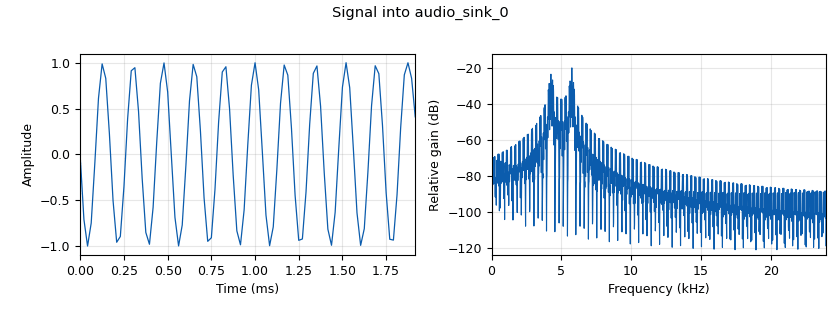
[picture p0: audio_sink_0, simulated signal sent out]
options:
  parameters:
    author: AA, AV, OW
    generate_options: qt_gui
    id: AC
    output_language: python
    title: Acoustic Communication
  states: {}

blocks:
- name: EbN0_dB
  id: variable
  parameters:
    value: '10'
  states: {}
- name: deviation
  id: variable
  parameters:
    value: 5*symbol_rate/2
  states: {}
- name: fc
  id: variable
  parameters:
    value: '5000'
  states: {}
- name: samp_rate
  id: variable
  parameters:
    value: '48000'
  states: {}
- name: sig_pwr
  id: variable
  parameters:
    value: '1'
  states: {}
- name: symbol_rate
  id: variable
  parameters:
    value: '300'
  states: {}
- name: analog_const_source_x_1
  id: analog_const_source_x
  parameters:
    const: '0'
    type: float
  states: {}
- name: analog_frequency_modulator_fc_0
  id: analog_frequency_modulator_fc
  parameters:
    sensitivity: 2*math.pi*deviation/samp_rate
  states: {}
- name: analog_noise_source_x_1
  id: analog_noise_source_x
  parameters:
    amp: math.sqrt( sig_pwr/ (10**(EbN0_dB/10)) * samp_rate/symbol_rate )
    noise_type: analog.GR_GAUSSIAN
    seed: '0'
    type: complex
  states: {state: disabled}
- name: analog_sig_source_x_0
  id: analog_sig_source_x
  parameters:
    amp: math.sqrt(2/(1/symbol_rate))
    freq: fc-deviation
    offset: '0'
    phase: '0'
    samp_rate: samp_rate
    type: complex
    waveform: analog.GR_COS_WAVE
  states: {}
- name: analog_sig_source_x_0_0
  id: analog_sig_source_x
  parameters:
    amp: math.sqrt(2/(1/symbol_rate))
    freq: fc+deviation
    offset: '0'
    phase: '0'
    samp_rate: samp_rate
    type: complex
    waveform: analog.GR_COS_WAVE
  states: {}
- name: analog_sig_source_x_1
  id: analog_sig_source_x
  parameters:
    amp: '1'
    freq: fc
    offset: '0'
    phase: '0'
    samp_rate: samp_rate
    type: complex
    waveform: analog.GR_COS_WAVE
  states: {}
- name: audio_sink_0
  id: audio_sink
  parameters:
    device_name: '"Speakers / Headphones"'
    samp_rate: samp_rate
  states: {}
- name: audio_source_0
  id: audio_source
  parameters:
    device_name: '"Microphone Array"'
    samp_rate: samp_rate
  states: {}
- name: blocks_add_const_vxx_0
  id: blocks_add_const_vxx
  parameters:
    const: '-1'
    type: float
  states: {}
- name: blocks_add_xx_0
  id: blocks_add_xx
  parameters:
    type: complex
  states: {state: disabled}
- name: blocks_char_to_float_0
  id: blocks_char_to_float
  parameters:
    scale: '0.5'
  states: {}
- name: blocks_char_to_float_0_0_0
  id: blocks_char_to_float
  parameters:
    scale: '1'
  states: {}
- name: blocks_char_to_float_0_0_0_0
  id: blocks_char_to_float
  parameters:
    scale: '1'
  states: {}
- name: blocks_complex_to_mag_squared_0
  id: blocks_complex_to_mag_squared
  parameters: {}
  states: {}
- name: blocks_complex_to_mag_squared_0_0
  id: blocks_complex_to_mag_squared
  parameters: {}
  states: {}
- name: blocks_complex_to_real_0
  id: blocks_complex_to_real
  parameters: {}
  states: {}
- name: blocks_float_to_complex_0
  id: blocks_float_to_complex
  parameters: {}
  states: {}
- name: blocks_keep_one_in_n_0
  id: blocks_keep_one_in_n
  parameters:
    n: int(samp_rate/symbol_rate)
    type: float
  states: {}
- name: blocks_moving_average_xx_0_0
  id: blocks_moving_average_xx
  parameters:
    length: int(samp_rate/symbol_rate)
    max_iter: '4000'
    scale: '1'
    type: complex
  states: {}
- name: blocks_moving_average_xx_0_0_0
  id: blocks_moving_average_xx
  parameters:
    length: int(samp_rate/symbol_rate)
    max_iter: '4000'
    scale: '1'
    type: complex
  states: {}
- name: blocks_multiply_xx_0
  id: blocks_multiply_xx
  parameters:
    type: complex
  states: {}
- name: blocks_multiply_xx_0_0
  id: blocks_multiply_xx
  parameters:
    type: complex
  states: {}
- name: blocks_multiply_xx_1
  id: blocks_multiply_xx
  parameters:
    type: complex
  states: {}
- name: blocks_pack_k_bits_bb_0
  id: blocks_pack_k_bits_bb
  parameters:
    k: '8'
  states: {}
- name: blocks_pack_k_bits_bb_0_0
  id: blocks_pack_k_bits_bb
  parameters:
    k: '8'
  states: {}
- name: blocks_repeat_0
  id: blocks_repeat
  parameters:
    interp: int(samp_rate/symbol_rate)
    type: float
  states: {}
- name: blocks_sub_xx_0
  id: blocks_sub_xx
  parameters:
    type: float
  states: {}
- name: blocks_throttle2_1
  id: blocks_throttle2
  parameters:
    samples_per_second: samp_rate
    type: complex
  states: {state: disabled}
- name: blocks_throttle2_1_0_0
  id: blocks_throttle2
  parameters:
    samples_per_second: samp_rate
    type: byte
  states: {state: disabled}
- name: blocks_unpack_k_bits_bb_0
  id: blocks_unpack_k_bits_bb
  parameters:
    k: '8'
  states: {}
- name: blocks_unpack_k_bits_bb_0_0
  id: blocks_unpack_k_bits_bb
  parameters:
    k: '8'
  states: {}
- name: blocks_vector_source_x_0
  id: blocks_vector_source_x
  parameters:
    repeat: 'True'
    type: byte
    vector: (0, 1, 0, 1, 1)
  states: {}
- name: channels_channel_model_0
  id: channels_channel_model
  parameters:
    epsilon: '1'
    freq_offset: '0.0'
    noise_voltage: 0*math.sqrt( sig_pwr/ (10**(EbN0_dB/10)) * samp_rate/symbol_rate )
    seed: '0'
    taps: '1.0'
  states: {}
- name: digital_binary_slicer_fb_0
  id: digital_binary_slicer_fb
  parameters: {}
  states: {}
- name: digital_glfsr_source_x_0
  id: digital_glfsr_source_x
  parameters:
    degree: '20'
    mask: '0'
    repeat: 'True'
    seed: '1'
    type: byte
  states: {state: disabled}
- name: fec_ber_bf_0
  id: fec_ber_bf
  parameters:
    test_mode: 'False'
  states: {}
- name: import_0
  id: import
  parameters:
    imports: import math
  states: {}
- name: qtgui_number_sink_0
  id: qtgui_number_sink
  parameters:
    graph_type: qtgui.NUM_GRAPH_HORIZ
    type: float
  states: {}
- name: qtgui_time_sink_x_0
  id: qtgui_time_sink_x
  parameters:
    ctrlpanel: 'True'
    size: '1024'
    srate: samp_rate
    type: complex
  states: {state: disabled}
- name: qtgui_time_sink_x_0_0
  id: qtgui_time_sink_x
  parameters:
    ctrlpanel: 'True'
    nconnections: '2'
    size: '1024'
    srate: samp_rate
    type: float
  states: {}
- name: qtgui_time_sink_x_1
  id: qtgui_time_sink_x
  parameters:
    size: '1024'
    srate: samp_rate
    type: float
  states: {}
- name: virtual_sink_0
  id: virtual_sink
  parameters: {}
  states: {state: disabled}
- name: virtual_source_0
  id: virtual_source
  parameters: {}
  states: {state: disabled}

connections:
- [analog_const_source_x_1, '0', blocks_float_to_complex_0, '1']
- [analog_frequency_modulator_fc_0, '0', blocks_add_xx_0, '1']
- [analog_frequency_modulator_fc_0, '0', channels_channel_model_0, '0']
- [analog_noise_source_x_1, '0', blocks_throttle2_1, '0']
- [analog_sig_source_x_0, '0', blocks_multiply_xx_0, '1']
- [analog_sig_source_x_0_0, '0', blocks_multiply_xx_0_0, '0']
- [analog_sig_source_x_1, '0', blocks_multiply_xx_1, '1']
- [audio_source_0, '0', blocks_float_to_complex_0, '0']
- [audio_source_0, '0', qtgui_time_sink_x_1, '0']
- [blocks_add_const_vxx_0, '0', blocks_repeat_0, '0']
- [blocks_add_xx_0, '0', blocks_multiply_xx_1, '0']
- [blocks_char_to_float_0, '0', blocks_add_const_vxx_0, '0']
- [blocks_char_to_float_0_0_0, '0', qtgui_time_sink_x_0_0, '0']
- [blocks_char_to_float_0_0_0_0, '0', qtgui_time_sink_x_0_0, '1']
- [blocks_complex_to_mag_squared_0, '0', blocks_sub_xx_0, '0']
- [blocks_complex_to_mag_squared_0_0, '0', blocks_sub_xx_0, '1']
- [blocks_complex_to_real_0, '0', audio_sink_0, '0']
- [blocks_complex_to_real_0, '0', virtual_sink_0, '0']
- [blocks_float_to_complex_0, '0', blocks_multiply_xx_0, '0']
- [blocks_float_to_complex_0, '0', blocks_multiply_xx_0_0, '1']
- [blocks_keep_one_in_n_0, '0', digital_binary_slicer_fb_0, '0']
- [blocks_moving_average_xx_0_0, '0', blocks_complex_to_mag_squared_0, '0']
- [blocks_moving_average_xx_0_0_0, '0', blocks_complex_to_mag_squared_0_0, '0']
- [blocks_multiply_xx_0, '0', blocks_moving_average_xx_0_0_0, '0']
- [blocks_multiply_xx_0_0, '0', blocks_moving_average_xx_0_0, '0']
- [blocks_multiply_xx_1, '0', blocks_complex_to_real_0, '0']
- [blocks_pack_k_bits_bb_0, '0', blocks_unpack_k_bits_bb_0_0, '0']
- [blocks_pack_k_bits_bb_0, '0', fec_ber_bf_0, '0']
- [blocks_pack_k_bits_bb_0_0, '0', blocks_unpack_k_bits_bb_0, '0']
- [blocks_pack_k_bits_bb_0_0, '0', fec_ber_bf_0, '1']
- [blocks_repeat_0, '0', analog_frequency_modulator_fc_0, '0']
- [blocks_sub_xx_0, '0', blocks_keep_one_in_n_0, '0']
- [blocks_throttle2_1, '0', blocks_add_xx_0, '0']
- [blocks_throttle2_1_0_0, '0', blocks_char_to_float_0, '0']
- [blocks_throttle2_1_0_0, '0', blocks_pack_k_bits_bb_0, '0']
- [blocks_unpack_k_bits_bb_0, '0', blocks_char_to_float_0_0_0_0, '0']
- [blocks_unpack_k_bits_bb_0_0, '0', blocks_char_to_float_0_0_0, '0']
- [blocks_vector_source_x_0, '0', blocks_char_to_float_0, '0']
- [blocks_vector_source_x_0, '0', blocks_pack_k_bits_bb_0, '0']
- [blocks_vector_source_x_0, '0', blocks_throttle2_1_0_0, '0']
- [channels_channel_model_0, '0', blocks_multiply_xx_1, '0']
- [channels_channel_model_0, '0', qtgui_time_sink_x_0, '0']
- [digital_binary_slicer_fb_0, '0', blocks_pack_k_bits_bb_0_0, '0']
- [digital_glfsr_source_x_0, '0', blocks_throttle2_1_0_0, '0']
- [fec_ber_bf_0, '0', qtgui_number_sink_0, '0']
- [virtual_source_0, '0', blocks_float_to_complex_0, '0']

metadata:
  file_format: 1
  grc_version: 3.10.10.0
